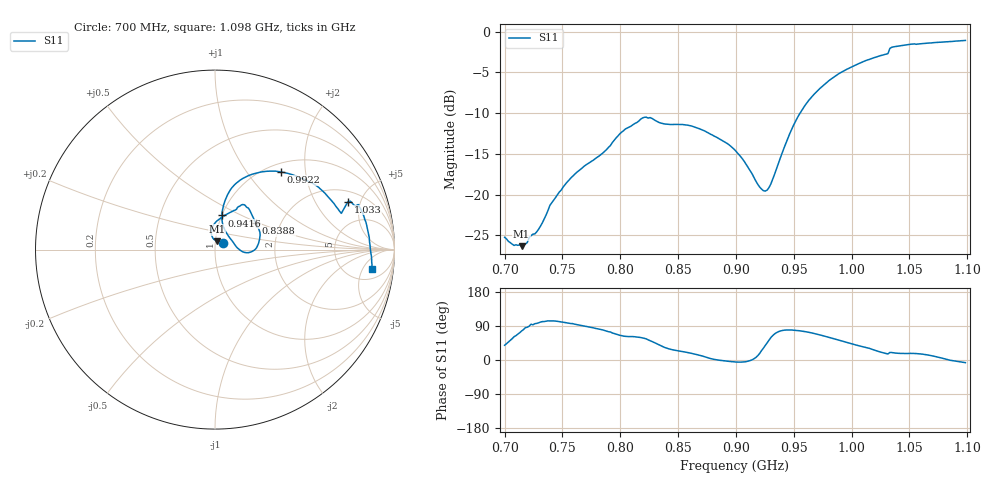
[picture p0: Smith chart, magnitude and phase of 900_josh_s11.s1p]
!Created with skrf (http://scikit-rf.org).
# Hz S RI R 50.0
!freq ReS11 ImS11
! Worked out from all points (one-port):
!   245 points, 700 MHz to 1.098 GHz, reference 50 ohm
!   lowest |S11| = -26.3 dB at 714.7 MHz (marker M1), VSWR 1.10, Z = 50.9 + j4.8 ohm
!   |S11| at or under -10 dB: start of sweep to 955.5 MHz
!   S11 on the Smith chart (normalised r, x): 700 MHz: 1.09, +0.08; 838.8 MHz: 1.50, +0.47; 941.6 MHz: 1.00, +0.40; 992.2 MHz: 1.16, +1.48; 1.033 GHz: 2.74, +3.85; 1.098 GHz: 8, -8
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7e8  0.0426 0.0344
7.1469e8  0.0113 0.047
7.2939e8  -0.00863 0.0608
7.3918e8  -0.0194 0.0838
7.5061e8  -0.0187 0.1099
7.8326e8  0.0293 0.1736
8.0122e8  0.1048 0.2178
8.2081e8  0.1618 0.2502
8.3877e8  0.2279 0.1465
8.502e8  0.2457 0.1099
8.7306e8  0.243 0.0361
8.9918e8  0.1866 -0.017
9.1387e8  0.1345 0.00101
9.253e8  0.0828 0.0648
9.302e8  0.0594 0.1001
9.4163e8  0.0381 0.19
9.4979e8  0.0521 0.2611
9.6122e8  0.0994 0.3509
9.7265e8  0.1814 0.4098
9.9224e8  0.3692 0.4327
9.9877e8  0.4333 0.4166
1.0151e9  0.5777 0.3465
1.03142e9  0.7039 0.2019
1.03306e9  0.7406 0.2674
1.04938e9  0.7939 0.2478
1.06408e9  0.8215 0.2079
1.0853e9  0.8673 -0.0117
1.09836e9  0.8747 -0.1079
